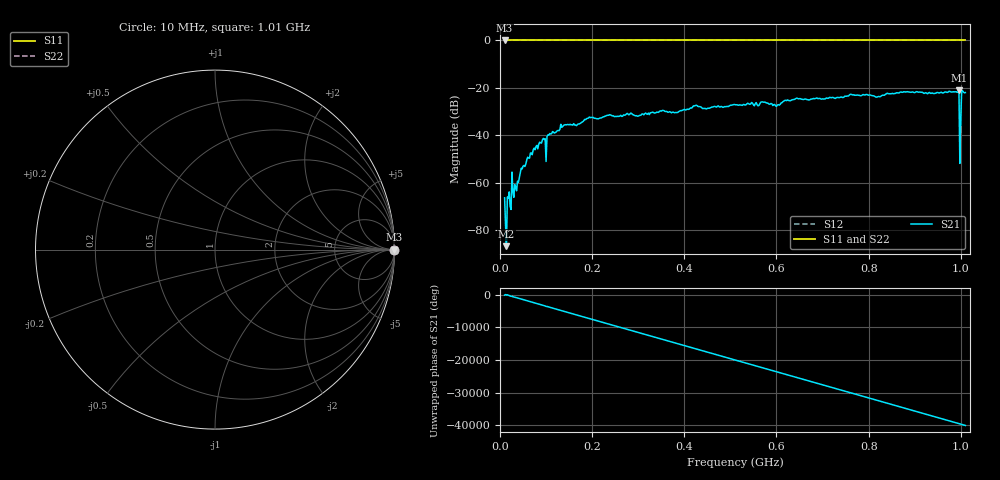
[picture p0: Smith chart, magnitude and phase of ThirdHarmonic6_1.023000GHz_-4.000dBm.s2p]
! 8/16/2025 8:36:27 AM
! C:\ANRITSUVNA\TEMP\TEMP.S2P
! CHANNEL.1
! TR.MEASUREMENT
! RAW.DATA
! RF.CORRECTION.OFF
! AVERAGING.OFF
! IF.BANDWIDTH: 5KHZ
! SWEEPTYPE:  FREQ.SWEEP(Linear)
! Reference Plane Port Info
! PORT:  PORT1  PORT2
! DISTANCE:  0  m  0  m
! TIME:  0  s  0  s
! PHASE.OFFSET:  0  deg.  0  deg.
! LOSS:  0  dB  0  dB
! REF.LOSS:  0  dB  0  dB
! REF.FREQ:  0  Hz  0  Hz
! Power Info
! POWER:  -20  dBm  -20  dBm
! EFF.POWER:  -20  dBm  -20  dBm
! SOURCE.ATTEN:  0  dB  0  dB
! TEST.ATTEN:  0  dB  0  dB
# GHZ S RI R 50.0
! FREQ.GHZ  S11RE  S11IM  S21RE  S21IM  S12RE  S12IM  S22RE  S22IM
!; PortSelection: Port_12
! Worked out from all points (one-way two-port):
!   501 points, 10 MHz to 1.01 GHz, reference 50 ohm
!   highest |S21| = -21.04 dB at 996 MHz (marker M1); lowest = -86.8 dB at 14 MHz (marker M2)
!   lowest |S11| = 0.0 dB at 10 MHz (marker M3)
!   |S11| at or under -10 dB: nowhere
!   |S22| runs from 0.0 to 0.0 dB; largest |S21 - S12| = 1.1
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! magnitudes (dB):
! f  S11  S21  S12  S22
! 10 MHz  0.0  -66.4  0.0  0.0
! 14 MHz  0.0  -86.8  0.0  0.0
! 22 MHz  0.0  -70.1  0.0  0.0
! 26 MHz  0.0  -55.6  0.0  0.0
! 30 MHz  0.0  -66.2  0.0  0.0
! 34 MHz  0.0  -61.9  0.0  0.0
! 48 MHz  0.0  -54.2  0.0  0.0
! 76 MHz  0.0  -46.1  0.0  0.0
! 136 MHz  0.0  -36.3  0.0  0.0
! 178 MHz  0.0  -34.5  0.0  0.0
! 344 MHz  0.0  -30.4  0.0  0.0
! 510 MHz  0.0  -27.1  0.0  0.0
! 602 MHz  0.0  -27.2  0.0  0.0
! 678 MHz  0.0  -24.7  0.0  0.0
! 844 MHz  0.0  -22.5  0.0  0.0
! 992 MHz  0.0  -21.9  0.0  0.0
! 994 MHz  0.0  -21.9  0.0  0.0
! 996 MHz  0.0  -21.0  0.0  0.0
! 1.002 GHz  0.0  -21.1  0.0  0.0
! 1.004 GHz  0.0  -21.3  0.0  0.0
! 1.006 GHz  0.0  -21.8  0.0  0.0
! 1.01 GHz  0.0  -22.0  0.0  0.0
